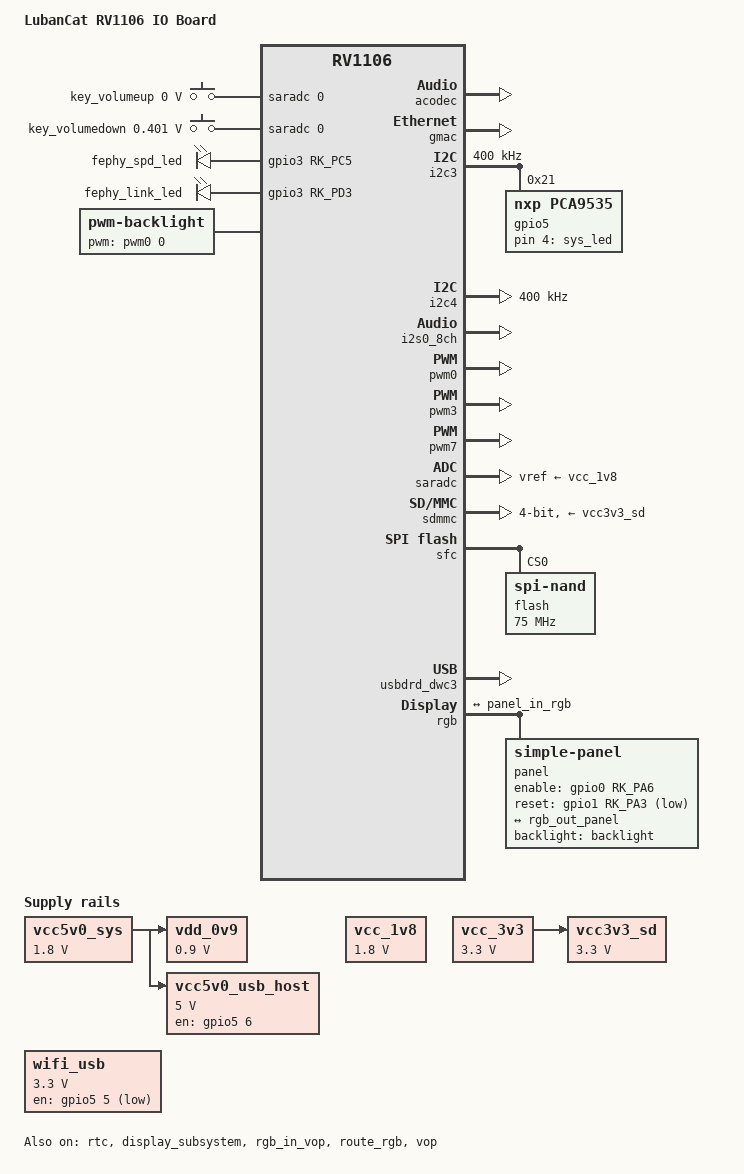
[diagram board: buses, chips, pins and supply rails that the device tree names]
// SPDX-License-Identifier: (GPL-2.0+ OR MIT)
/*
 * Copyright (c) 2022 Rockchip Electronics Co., Ltd.
 */

/dts-v1/;

#include "rv1106.dtsi"
// #include "rv1106-amp.dtsi"
#include "rv1106-evb.dtsi"
#include <dt-bindings/display/media-bus-format.h>

// #include "rv1106g-lubancat-single-cam.dtsi"
#include "rv1106g-lubancat-dual-cam.dtsi"

/ {
    model = "LubanCat RV1106 IO Board";
	compatible = "embedfire,rv1106g-lubancat-io", "rockchip,rv1106";

	chosen {
		bootargs = "earlycon=uart8250,mmio32,0xff4c0000 console=ttyFIQ0 root=/dev/mmcblk0p5 rootfstype=ext4 rootwait snd_soc_core.prealloc_buffer_size_kbytes=16 coherent_pool=0 net.ifnames=0 biosdevname=0";
	};

	acodec_sound: acodec-sound {
		compatible = "simple-audio-card";
		simple-audio-card,name = "rv1106-acodec";
		simple-audio-card,format = "i2s";
		simple-audio-card,mclk-fs = <256>;
		simple-audio-card,cpu {
			sound-dai = <&i2s0_8ch>;
		};
		simple-audio-card,codec {
			sound-dai = <&acodec>;
		};
	};

	dsm_sound: dsm-sound {
		status = "disabled";
		compatible = "simple-audio-card";
		simple-audio-card,format = "i2s";
		simple-audio-card,mclk-fs = <256>;
		simple-audio-card,name = "rockchip,dsm-sound";
		simple-audio-card,bitclock-master = <&sndcodec>;
		simple-audio-card,frame-master = <&sndcodec>;
		sndcpu: simple-audio-card,cpu {
			sound-dai = <&i2s0_8ch>;
		};
		sndcodec: simple-audio-card,codec {
			sound-dai = <&dsm>;
		};
	};

	vdd_0v9: vdd-0v9 {
		compatible = "regulator-fixed";
		regulator-name = "vdd_0v9";
		regulator-always-on;
		regulator-boot-on;
		regulator-min-microvolt = <900000>;
		regulator-max-microvolt = <900000>;
		vin-supply = <&vcc5v0_sys>;
	};

	adc-keys {
		compatible = "adc-keys";
		io-channels = <&saradc 0>;
		io-channel-names = "buttons";
		poll-interval = <100>;
		keyup-threshold-microvolt = <1800000>;

		key_volumeup-key {
			label = "key_volumeup";
			linux,code = <KEY_VOLUMEUP>;
			press-threshold-microvolt = <0>;
		};

		key_volumedown-key {
			label = "key_volumedown";
			linux,code = <KEY_VOLUMEDOWN>;
			press-threshold-microvolt = <400781>;
		};
	};

	leds: leds {
		status = "okay";
		compatible = "gpio-leds";

		sys_led: sys-led {
			label = "sys_led";
			linux,default-trigger = "heartbeat";
			default-state = "on";
			gpios = <&gpio5 4 GPIO_ACTIVE_HIGH>;
		};

		fephy_spd_led: fephy-spd-led {
			label = "fephy_spd_led";
			linux,default-trigger = "heartbeat";
			default-state = "on";
			gpios = <&gpio3 RK_PC5 GPIO_ACTIVE_HIGH>;
		};

		fephy_link_led: fephy-link-led {
			label = "fephy_link_led";
			linux,default-trigger = "heartbeat";
			default-state = "on";
			gpios = <&gpio3 RK_PD3 GPIO_ACTIVE_HIGH>;
		};
	};

	backlight: backlight {
		status = "okay";
		compatible = "pwm-backlight";
		pwms = <&pwm0 0 25000 0>;
		brightness-levels = <
			  0   1   2   3   4   5   6   7
			  8   9  10  11  12  13  14  15
			 16  17  18  19  20  21  22  23
			 24  25  26  27  28  29  30  31
			 32  33  34  35  36  37  38  39
			 40  41  42  43  44  45  46  47
			 48  49  50  51  52  53  54  55
			 56  57  58  59  60  61  62  63
			 64  65  66  67  68  69  70  71
			 72  73  74  75  76  77  78  79
			 80  81  82  83  84  85  86  87
			 88  89  90  91  92  93  94  95
			 96  97  98  99 100 101 102 103
			104 105 106 107 108 109 110 111
			112 113 114 115 116 117 118 119
			120 121 122 123 124 125 126 127
			128 129 130 131 132 133 134 135
			136 137 138 139 140 141 142 143
			144 145 146 147 148 149 150 151
			152 153 154 155 156 157 158 159
			160 161 162 163 164 165 166 167
			168 169 170 171 172 173 174 175
			176 177 178 179 180 181 182 183
			184 185 186 187 188 189 190 191
			192 193 194 195 196 197 198 199
			200 201 202 203 204 205 206 207
			208 209 210 211 212 213 214 215
			216 217 218 219 220 221 222 223
			224 225 226 227 228 229 230 231
			232 233 234 235 236 237 238 239
			240 241 242 243 244 245 246 247
			248 249 250 251 252 253 254 255>;
		default-brightness-level = <255>;
	};

	reserved-memory {
		#address-cells = <1>;
		#size-cells = <1>;
		ranges;
		drm_logo: drm-logo@00000000 {
			compatible = "rockchip,drm-logo";
			reg = <0x0 0x0>;
		};
	};

	vcc5v0_sys: vcc5v0-sys {
		compatible = "regulator-fixed";
		regulator-name = "vcc5v0_sys";
		regulator-always-on;
		regulator-boot-on;
		regulator-min-microvolt = <1800000>;
		regulator-max-microvolt = <1800000>;
	};

	vcc_1v8: vcc-1v8 {
		compatible = "regulator-fixed";
		regulator-name = "vcc_1v8";
		regulator-always-on;
		regulator-boot-on;
		regulator-min-microvolt = <1800000>;
		regulator-max-microvolt = <1800000>;
	};

	vcc_3v3: vcc-3v3 {
		compatible = "regulator-fixed";
		regulator-name = "vcc_3v3";
		regulator-always-on;
		regulator-boot-on;
		regulator-min-microvolt = <3300000>;
		regulator-max-microvolt = <3300000>;
	};

	vcc3v3_sd: vcc3v3-sd {
		compatible = "regulator-fixed";
		regulator-name = "vcc3v3_sd";
		regulator-always-on;
		regulator-boot-on;
		regulator-min-microvolt = <3300000>;
		regulator-max-microvolt = <3300000>;
		vin-supply = <&vcc_3v3>;
	};

	vcc5v0_usb_host: vcc5v0-usb-host {
		compatible = "regulator-fixed";
		regulator-name = "vcc5v0_usb_host";
		regulator-always-on;
		enable-active-high;
		regulator-boot-on;
		regulator-min-microvolt = <5000000>;
		regulator-max-microvolt = <5000000>;
		gpio = <&gpio5 6 GPIO_ACTIVE_HIGH>;
		vin-supply = <&vcc5v0_sys>;
	};

	wifi_usb: wifi-usb {
		compatible = "regulator-fixed";
		regulator-name = "wifi_usb";
		regulator-always-on;
		enable-active-low;
		regulator-min-microvolt = <3300000>;
		regulator-max-microvolt = <3300000>;	
		gpio = <&gpio5 5 GPIO_ACTIVE_LOW>;
	};
};

&acodec {
	#sound-dai-cells = <0>;
	pa-ctl-gpios = <&gpio5 7 GPIO_ACTIVE_HIGH>;
	status = "okay";
};

&cpu0 {
	cpu-supply = <&vdd_0v9>;
};

&dsm {
	status = "disabled";
};

&gmac {
	status = "okay";
};

&i2c3 {
    status = "okay";
    clock-frequency = <400000>;
    pinctrl-names = "default";
    pinctrl-0 = <&i2c3m2_xfer>;

	gpio5: gpio-expander@21 {
		compatible = "nxp,pca9535";
		status = "okay";
		reg = <0x21>;
		gpio-controller;
		#gpio-cells = <2>;
		//  = <&gpio5 0 GPIO_ACTIVE_LOW>;
	};
};

&i2c4 {
    status = "okay";
    clock-frequency = <400000>;
    pinctrl-names = "default";
    pinctrl-0 = <&i2c4m2_xfer>;
};

&i2s0_8ch {
	#sound-dai-cells = <0>;
	status = "okay";
};

&pwm0 {
	status = "okay";
};

&pwm3 {
	status = "okay";
	pinctrl-names = "active";
	pinctrl-0 = <&pwm3m1_pins>;
};

&pwm7 {
	status = "okay";
	pinctrl-names = "active";
	pinctrl-0 = <&pwm7m1_pins>;
};

&rmii_phy {
	bgs,increment = <0>;
};

&rtc {
	status = "okay";
};

&saradc {
	status = "okay";
	vref-supply = <&vcc_1v8>;
};

&sdmmc {
	max-frequency = <200000000>;
	no-sdio;
	no-mmc;
	bus-width = <4>;
	cap-mmc-highspeed;
	cap-sd-highspeed;
	disable-wp;
	pinctrl-names = "normal", "idle";
	pinctrl-0 = <&sdmmc0_clk &sdmmc0_cmd &sdmmc0_det &sdmmc0_bus4>;
	pinctrl-1 = <&sdmmc0_idle_pins &sdmmc0_det>;
	vmmc-supply = <&vcc3v3_sd>;
	status = "okay";
};

&sfc {
	status = "okay";

	flash@0 {
		compatible = "spi-nand";
		reg = <0>;
		spi-max-frequency = <75000000>;
		spi-rx-bus-width = <4>;
		spi-tx-bus-width = <1>;
	};
};

&usbdrd_dwc3 {
    extcon = <&u2phy>;
	status = "okay";
    /* dr_mode = "host"; */
};




&display_subsystem {
	status = "okay";
	logo-memory-region = <&drm_logo>;
};

&rgb {
	status = "okay";
	pinctrl-names = "default";
	pinctrl-0 = <&lcd_pins>;

	panel: panel {
		compatible = "simple-panel";
		status = "okay";
		backlight = <&backlight>;
		bus-format = <MEDIA_BUS_FMT_RGB666_1X18>;
        enable-gpios = <&gpio0 RK_PA6 GPIO_ACTIVE_HIGH>;
        enable-delay-ms = <20>;
		reset-gpios = <&gpio1 RK_PA3 GPIO_ACTIVE_LOW>;
		reset-delay-ms = <10>;

		display-timings {
			native-mode = <&timing0>;

			timing0: timing0 {
				clock-frequency = <16500000>;
				hactive = <480>;
				vactive = <480>;
				hback-porch = <43>;
				hfront-porch = <8>;
				vback-porch = <15>;
				vfront-porch = <12>;
				hsync-len = <4>;
				vsync-len = <10>; //value range <2~22>
				hsync-active = <0>;
				vsync-active = <0>;
				de-active = <0>;
				pixelclk-active = <1>;
			};
		};

		port {
			panel_in_rgb: endpoint {
				remote-endpoint = <&rgb_out_panel>;
			};
		};
	};

	ports {
		rgb_out: port@1 {
			reg = <1>;
			#address-cells = <1>;
			#size-cells = <0>;

            rgb_out_panel: endpoint@0 {
                reg = <0>;
                remote-endpoint = <&panel_in_rgb>;
            };
		};
	};
};

&rgb_in_vop {
	status = "okay";
};

&route_rgb {
    status = "okay";
};

&vop {
	status = "okay";
};
